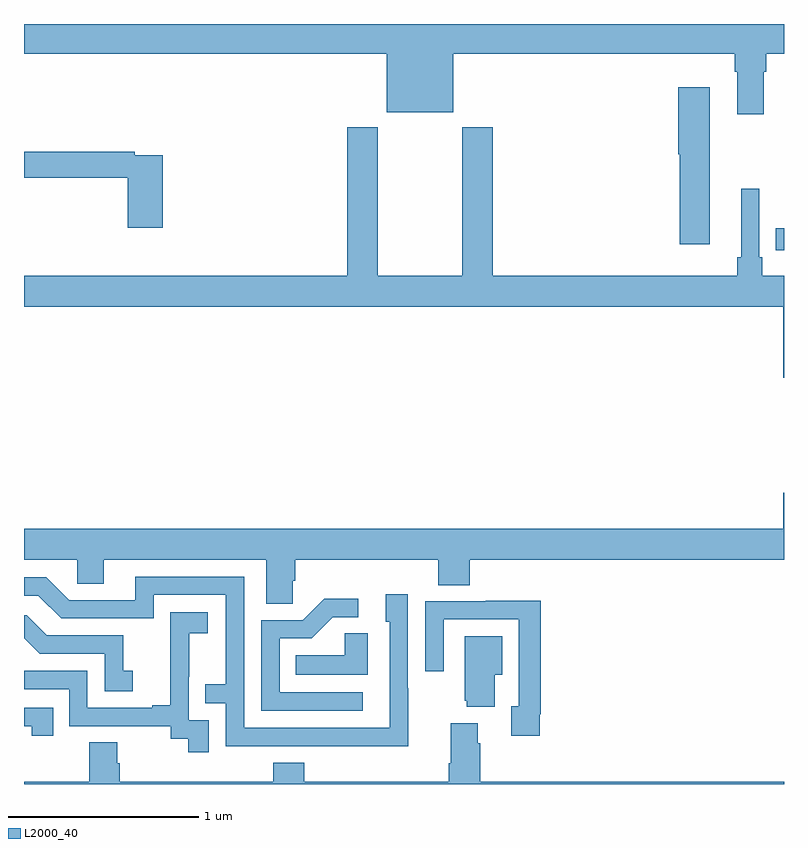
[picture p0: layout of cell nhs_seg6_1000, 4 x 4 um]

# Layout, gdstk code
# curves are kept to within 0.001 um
import gdstk
lib = gdstk.Library(unit=1e-6, precision=1e-09)
def R(c, l, rs):  # rectangles x0, y0, x1, y1
    for r in rs: c.add(gdstk.rectangle(r[:2], r[2:], *l))
def P(c, l, *ps):  # polygons
    for p in ps: c.add(gdstk.Polygon(p, *l))
L2000_40 = (2000, 40)

nhs_seg6_1000 = lib.new_cell('nhs_seg6_1000')
R(nhs_seg6_1000, L2000_40, [(176.956,938.31,177,938.426)])
P(nhs_seg6_1000, L2000_40, [(176.893,939.248),(176.906,939.248),(176.906,939.344),(177,939.344),(177,939.5),(173,939.5),(173,939.344),(174.908,939.344),(174.908,939.035),(175.258,939.035),(175.258,939.344),(176.741,939.344),(176.741,939.248),(176.753,939.248),(176.753,939.024),(176.893,939.024)],
  [(176.608,939.166),(176.444,939.166),(176.444,938.814),(176.45,938.814),(176.45,938.34),(176.608,938.34)],
  [(173.729,938.808),(173.582,938.808),(173.582,938.828),(173,938.828),(173,938.692),(173.546,938.692),(173.546,938.427),(173.729,938.427)],
  [(176.774,938.632),(176.774,938.272),(176.755,938.272),(176.755,938.176),(175.466,938.176),(175.466,938.956),(175.306,938.956),(175.306,938.176),(174.861,938.176),(174.861,938.956),(174.701,938.956),(174.701,938.176),(173,938.176),(173,938.012),(176.996,938.012),(176.996,937.638),(177,937.638),(177,938.176),(176.885,938.176),(176.885,938.272),(176.871,938.272),(176.871,938.632)],
  [(174.414,936.571),(174.428,936.571),(174.428,936.68),(175.181,936.68),(175.181,936.547),(175.346,936.547),(175.346,936.68),(177,936.68),(177,937.033),(176.996,937.033),(176.996,936.844),(173,936.844),(173,936.68),(173.28,936.68),(173.28,936.553),(173.419,936.553),(173.419,936.68),(174.275,936.68),(174.275,936.448),(174.414,936.448)],
  [(175.023,936.005),(175.02,936.005),(175.02,936.499),(174.905,936.499),(174.905,936.354),(174.924,936.354),(174.924,935.796),(174.159,935.796),(174.159,936.591),(173.585,936.591),(173.585,936.468),(173.238,936.468),(173.118,936.588),(173,936.588),(173,936.492),(173.076,936.492),(173.196,936.372),(173.682,936.372),(173.682,936.495),(174.063,936.495),(174.063,936.026),(173.953,936.026),(173.953,935.925),(174.063,935.925),(174.063,935.7),(175.023,935.699)],
  [(174.784,935.982),(174.345,935.982),(174.345,936.267),(174.514,936.267),(174.625,936.378),(174.76,936.378),(174.76,936.476),(174.581,936.476),(174.468,936.363),(174.249,936.363),(174.249,935.886),(174.784,935.886)],
  [(175.714,935.866),(175.721,935.866),(175.721,936.464),(175.429,936.464),(175.429,936.462),(175.113,936.462),(175.113,936.093),(175.209,936.093),(175.209,936.366),(175.605,936.366),(175.605,935.91),(175.565,935.91),(175.565,935.754),(175.714,935.754)],
  [(173.973,935.835),(173.868,935.835),(173.868,936.065),(173.87,936.065),(173.87,936.293),(173.968,936.293),(173.968,936.403),(173.77,936.403),(173.77,936.197),(173.771,936.197),(173.771,935.914),(173.675,935.914),(173.675,935.901),(173.334,935.901),(173.334,936.096),(173,936.096),(173,936),(173.238,936),(173.238,935.805),(173.772,935.805),(173.772,935.737),(173.865,935.737),(173.865,935.667),(173.973,935.667)],
  [(173.572,936.097),(173.523,936.097),(173.523,936.282),(173.119,936.282),(173.014,936.387),(173,936.387),(173,936.268),(173.082,936.186),(173.424,936.186),(173.424,935.988),(173.572,935.988)],
  [(174.808,936.293),(174.687,936.293),(174.687,936.178),(174.43,936.178),(174.43,936.074),(174.808,936.074)],
  [(175.477,936.074),(175.516,936.074),(175.516,936.277),(175.319,936.277),(175.319,935.937),(175.331,935.937),(175.331,935.906),(175.477,935.906)],
  [(173.153,935.901),(173,935.901),(173,935.805),(173.042,935.805),(173.042,935.754),(173.153,935.754)],
  [(177,935.512),(175.4,935.512),(175.4,935.714),(175.387,935.714),(175.387,935.821),(175.247,935.821),(175.247,935.608),(175.235,935.608),(175.235,935.512),(174.476,935.512),(174.476,935.611),(174.311,935.611),(174.311,935.512),(173.504,935.512),(173.504,935.61),(173.491,935.61),(173.491,935.72),(173.344,935.72),(173.344,935.512),(173,935.512),(173,935.5),(177,935.5)])

lib.write_gds('nhs_seg6_1000.gds')
